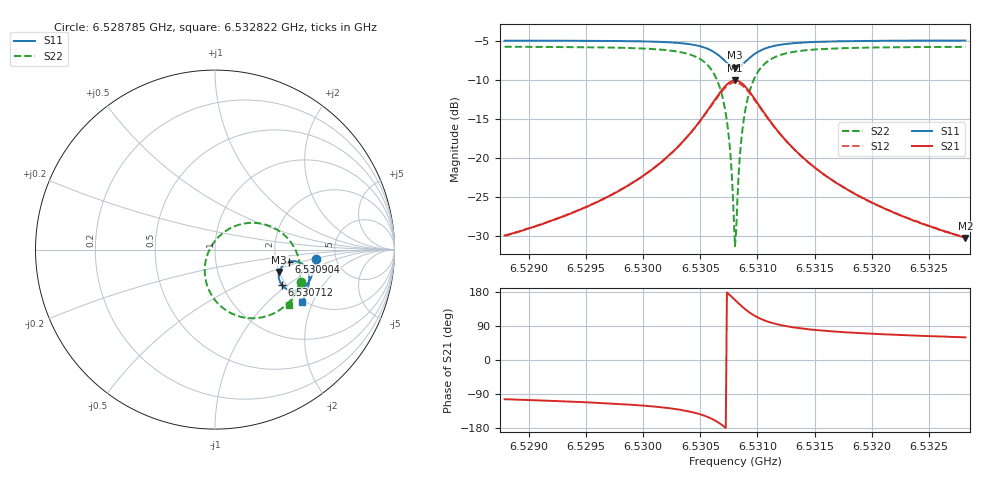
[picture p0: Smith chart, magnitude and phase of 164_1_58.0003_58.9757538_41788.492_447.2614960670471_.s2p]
#  HZ  S  RI  R  50.00
! Rohde & Schwarz Vector Network Analyzer
! Rohde-Schwarz,ZNB20-2Port,1311601062101988,3.16
! Created: UTC 3/21/2024, 12:57:38 AM
! freq[Hz]  re:S11  im:S11  re:S21  im:S21  re:S12  im:S12  re:S22  im:S22
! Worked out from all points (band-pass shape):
!   401 points, 6.528785 GHz to 6.532822 GHz, reference 50 ohm
!   highest |S21| = -10.09 dB at 6.530803 GHz (marker M1); lowest = -30.2 dB at 6.532822 GHz (marker M2)
!   |S21| within 3 dB of the highest: 6.530602 GHz to 6.531006 GHz (404.3 kHz wide, 0.00619 % of centre)
!   lowest |S11| = -8.4 dB at 6.530803 GHz (marker M3), VSWR 2.22, Z = 100 - j29 ohm
!   |S11| at or under -10 dB: nowhere
!   |S22| runs from -31.3 to -5.8 dB; largest |S21 - S12| = 0.013
!   S11 on the Smith chart (normalised r, x): 6.528785 GHz: 3.49, -0.53; 6.530712 GHz: 1.90, -0.90; 6.530904 GHz: 2.37, -0.39; 6.532822 GHz: 1.94, -1.66
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6.528785e9  0.5604 -0.0516  -0.00744 -0.031  -0.00809 -0.0308  0.4814 -0.181
6.5294611e9  0.5511 -0.1085  -0.0169 -0.044  -0.018 -0.0436  0.4491 -0.2441
6.5298446e9  0.54 -0.1449  -0.0298 -0.0581  -0.0313 -0.0572  0.4152 -0.2891
6.5301373e9  0.524 -0.1773  -0.0513 -0.0756  -0.0535 -0.0742  0.3653 -0.3333
6.5303694e9  0.4971 -0.2076  -0.0917 -0.0956  -0.0948 -0.0923  0.2827 -0.3723
6.5305409e9  0.453 -0.2276  -0.1614 -0.1024  -0.1637 -0.0955  0.1543 -0.377
6.5306418e9  0.4073 -0.2227  -0.2323 -0.0756  -0.2315 -0.0654  0.0354 -0.3182
6.5307125e9  0.3712 -0.1951  -0.2846 -0.0157  -0.2787 -0.0054  -0.0414 -0.2075
6.5307528e9  0.3577 -0.1668  -0.3011 0.0383  -0.2916 0.0467  -0.0573 -0.115
6.5307932e9  0.3562 -0.1325  -0.2963 0.0998  -0.2849 0.1047  -0.0371 -0.0148
6.5308033e9  0.3581 -0.1239  -0.2911 0.115  -0.2797 0.1187  -0.0257 0.00897
6.5308134e9  0.3609 -0.1156  -0.2847 0.1296  -0.2731 0.1324  -0.0124 0.0315
6.5308235e9  0.3646 -0.1077  -0.2766 0.1435  -0.2653 0.1452  0.00318 0.0524
6.5308437e9  0.3743 -0.0934  -0.2573 0.1679  -0.2466 0.1678  0.0397 0.0887
6.5308639e9  0.3863 -0.0818  -0.2346 0.1876  -0.2248 0.186  0.0807 0.1166
6.5309042e9  0.4135 -0.0676  -0.1848 0.2112  -0.1776 0.2081  0.1673 0.146
6.5309749e9  0.4574 -0.0667  -0.1079 0.2134  -0.1043 0.2103  0.2963 0.1344
6.5310758e9  0.4962 -0.0884  -0.0418 0.182  -0.04 0.1803  0.4027 0.0651
6.5312272e9  0.519 -0.1246  -0.00171 0.1348  -0.000351 0.1341  0.4608 -0.0322
6.5314794e9  0.525 -0.1682  0.0155 0.0881  0.0166 0.0878  0.4751 -0.1309
6.5321556e9  0.5086 -0.2394  0.0178 0.0424  0.0187 0.0421  0.4461 -0.2475
6.5328216e9  0.4841 -0.2905  0.0155 0.0265  0.0162 0.0264  0.4116 -0.3075
